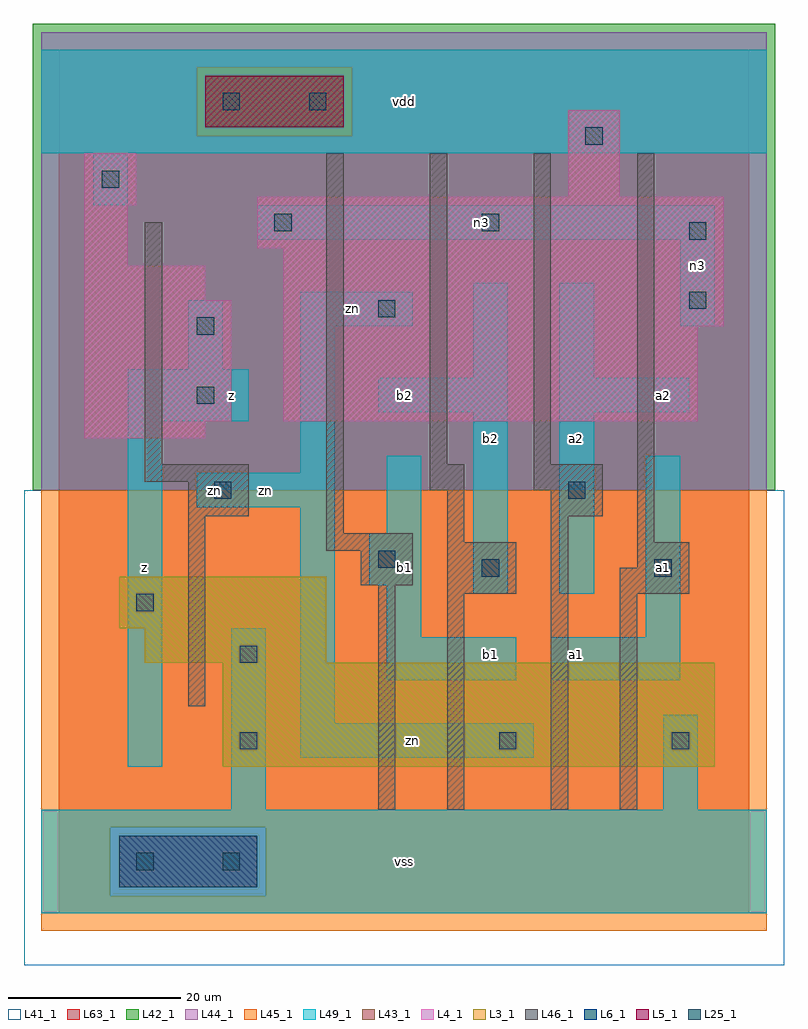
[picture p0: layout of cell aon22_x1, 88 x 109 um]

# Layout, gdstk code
import gdstk
lib = gdstk.Library(unit=1e-6, precision=1e-09)
def R(c, l, rs):  # rectangles x0, y0, x1, y1
    for r in rs: c.add(gdstk.rectangle(r[:2], r[2:], *l))
L3_1 = (3, 1)
L4_1 = (4, 1)
L5_1 = (5, 1)
L6_1 = (6, 1)
L25_1 = (25, 1)
L41_1 = (41, 1)
L42_1 = (42, 1)
L43_1 = (43, 1)
L44_1 = (44, 1)
L45_1 = (45, 1)
L46_1 = (46, 1)
L49_1 = (49, 1)
L63_1 = (63, 1)

aon22_x1 = lib.new_cell('aon22_x1')
R(aon22_x1, L3_1, [(19,17,76,29), (10,29,31,33), (7,33,31,39)])
R(aon22_x1, L4_1, [(3,55,17,57), (3,57,20,71), (26,57,74,68), (26,68,77,77), (3,71,17,75), (3,75,8,82), (23,77,77,83), (3,82,9,88), (59,83,65,93)])
R(aon22_x1, L5_1, [(17,91,33,97)])
R(aon22_x1, L6_1, [(7,3,23,9)])
R(aon22_x1, L25_1, [(9,5,11,7), (19,5,21,7), (21,19,23,21), (51,19,53,21), (71,19,73,21), (21,29,23,31), (9,35,11,37), (49,39,51,41), (69,39,71,41), (37,40,39,42), (18,48,20,50), (59,48,61,50), (16,59,18,61), (16,67,18,69), (37,69,39,71), (73,70,75,72), (73,78,75,80), (25,79,27,81), (49,79,51,81), (5,84,7,86), (61,89,63,91), (19,93,21,95), (29,93,31,95)])
R(aon22_x1, L41_1, [(-4,-6,84,49), (-3,-3,83,49)])
R(aon22_x1, L42_1, [(-3,49,83,103)])
R(aon22_x1, L43_1, [(7,3,23,9), (19,17,76,29), (10,29,31,33), (7,33,31,39), (3,55,17,57), (3,57,20,71), (26,57,74,68), (26,68,77,77), (3,71,17,75), (3,75,8,82), (23,77,77,83), (3,82,9,88), (59,83,65,93), (17,91,33,97)])
R(aon22_x1, L44_1, [(6,2,24,10), (-2,49,82,90), (-2,90,16,98), (34,90,82,98), (-2,98,82,102)])
R(aon22_x1, L45_1, [(-2,-2,82,2), (-2,2,6,10), (24,2,82,10), (-2,10,82,49), (16,90,34,98)])
R(aon22_x1, L46_1, [(37,12,39,38), (45,12,47,37), (57,12,59,46), (65,12,67,37), (15,24,17,46), (45,37,53,43), (65,37,73,40), (35,38,41,42), (67,40,73,43), (31,42,41,44), (45,43,47,49), (67,43,69,88), (31,44,33,88), (15,46,22,50), (57,46,63,49), (43,49,47,52), (55,49,63,52), (10,50,22,52), (10,52,12,80), (43,52,45,88), (55,52,57,88)])
R(aon22_x1, L49_1, [(-2,0,82,12), (20,12,24,33), (70,12,74,23), (8,17,12,57), (28,18,55,22), (28,22,32,47), (38,27,53,32), (57,27,72,32), (38,32,42,38), (68,32,72,53), (48,37,52,58), (58,37,62,58), (36,38,42,44), (38,44,42,53), (16,47,32,51), (28,51,32,68), (8,57,22,63), (37,58,52,62), (58,58,73,62), (48,62,52,73), (58,62,62,73), (15,63,19,71), (28,68,41,72), (72,68,76,78), (23,78,76,82), (4,82,8,88), (-2,88,82,100)])
R(aon22_x1, L63_1, [(0,0,80,100)])
aon22_x1.add(gdstk.Label('zn', (18,49), layer=49, texttype=1))
aon22_x1.add(gdstk.Label('z', (10,40), layer=49, texttype=1))
aon22_x1.add(gdstk.Label('z', (10,40), layer=49, texttype=1))
aon22_x1.add(gdstk.Label('z', (20,60), layer=49, texttype=1))
aon22_x1.add(gdstk.Label('z', (20,60), layer=49, texttype=1))
aon22_x1.add(gdstk.Label('vss', (40,6), layer=49, texttype=1))
aon22_x1.add(gdstk.Label('vss', (40,6), layer=49, texttype=1))
aon22_x1.add(gdstk.Label('b1', (40,40), layer=49, texttype=1))
aon22_x1.add(gdstk.Label('b1', (40,40), layer=49, texttype=1))
aon22_x1.add(gdstk.Label('zn', (24,49), layer=49, texttype=1))
aon22_x1.add(gdstk.Label('b2', (40,60), layer=49, texttype=1))
aon22_x1.add(gdstk.Label('b2', (40,60), layer=49, texttype=1))
aon22_x1.add(gdstk.Label('zn', (34,70), layer=49, texttype=1))
aon22_x1.add(gdstk.Label('vdd', (40,94), layer=49, texttype=1))
aon22_x1.add(gdstk.Label('vdd', (40,94), layer=49, texttype=1))
aon22_x1.add(gdstk.Label('zn', (41,20), layer=49, texttype=1))
aon22_x1.add(gdstk.Label('b1', (50,30), layer=49, texttype=1))
aon22_x1.add(gdstk.Label('b1', (50,30), layer=49, texttype=1))
aon22_x1.add(gdstk.Label('a1', (60,30), layer=49, texttype=1))
aon22_x1.add(gdstk.Label('a1', (60,30), layer=49, texttype=1))
aon22_x1.add(gdstk.Label('b2', (50,55), layer=49, texttype=1))
aon22_x1.add(gdstk.Label('b2', (50,55), layer=49, texttype=1))
aon22_x1.add(gdstk.Label('a2', (60,55), layer=49, texttype=1))
aon22_x1.add(gdstk.Label('a2', (60,55), layer=49, texttype=1))
aon22_x1.add(gdstk.Label('a1', (70,40), layer=49, texttype=1))
aon22_x1.add(gdstk.Label('a1', (70,40), layer=49, texttype=1))
aon22_x1.add(gdstk.Label('a2', (70,60), layer=49, texttype=1))
aon22_x1.add(gdstk.Label('a2', (70,60), layer=49, texttype=1))
aon22_x1.add(gdstk.Label('n3', (74,75), layer=49, texttype=1))
aon22_x1.add(gdstk.Label('n3', (49,80), layer=49, texttype=1))

lib.write_gds('aon22_x1.gds')
